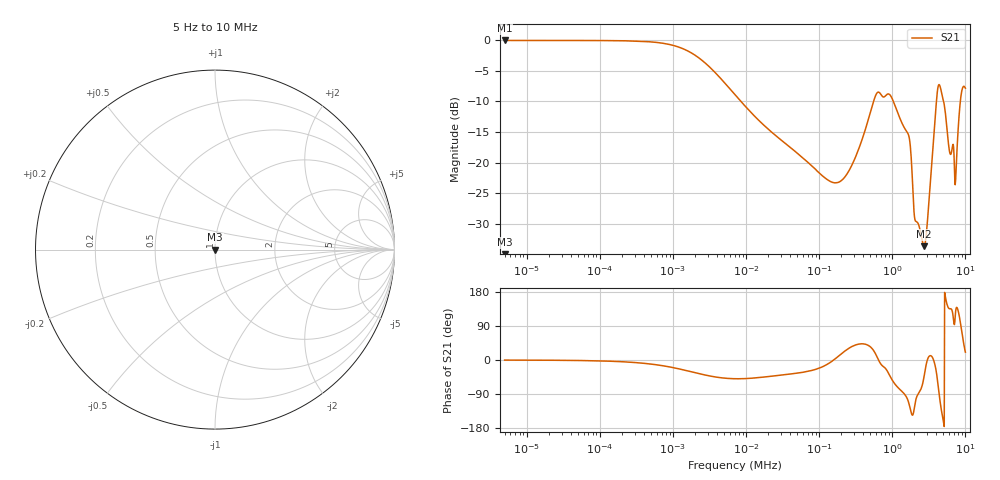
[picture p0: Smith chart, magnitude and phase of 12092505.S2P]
!Agilent Technologies,E5061B,MY49204007,A.02.12
!Date: Fri Sep 12 09:38:00 2025
!Data & Calibration Information:
!Freq	S11:SOLT2(OFF)	S21:SOLT2(OFF)	S12:SOLT2(OFF)	S22:SOLT2(OFF)
# Hz S dB R 50
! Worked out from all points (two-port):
!   1041 points, 5 Hz to 10 MHz, reference 50 ohm
!   highest |S21| = -0.05 dB at 5 Hz (marker M1); lowest = -33.6 dB at 2.732 MHz (marker M2)
!   |S21| within 3 dB of the highest: start of sweep to 2.357 kHz
!   lowest |S11| = - dB at 5 Hz (marker M3), VSWR 1.00, Z = 50 + j0 ohm
!   |S11| at or under -10 dB: start of sweep to end of sweep
!   S12 and S22 are empty: the file has one direction only
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5  -200.00 0.0  -0.05 -0.3  -200.00 0.0  -200.00 0.0
56.522  -200.00 0.0  -0.05 -1.4  -200.00 0.0  -200.00 0.0
632.897  -200.00 0.0  -0.40 -13.3  -200.00 0.0  -200.00 0.0
2229.669  -200.00 0.0  -2.83 -35.5  -200.00 0.0  -200.00 0.0
7154.49  -200.00 0.0  -8.97 -49.5  -200.00 0.0  -200.00 0.0
80111.67  -200.00 0.0  -20.57 -27.3  -200.00 0.0  -200.00 0.0
201894.5  -200.00 0.0  -22.91 16.6  -200.00 0.0  -200.00 0.0
529484.8  -200.00 0.0  -10.80 30.2  -200.00 0.0  -200.00 0.0
893075.1  -200.00 0.0  -8.78 -35.8  -200.00 0.0  -200.00 0.0
1649002  -200.00 0.0  -15.32 -108.0  -200.00 0.0  -200.00 0.0
2043081  -200.00 0.0  -29.32 -115.9  -200.00 0.0  -200.00 0.0
2732389  -200.00 0.0  -33.63 -41.9  -200.00 0.0  -200.00 0.0
3044228  -200.00 0.0  -29.20 2.3  -200.00 0.0  -200.00 0.0
3636709  -200.00 0.0  -16.80 2.1  -200.00 0.0  -200.00 0.0
3999130  -200.00 0.0  -10.29 -30.6  -200.00 0.0  -200.00 0.0
4315301  -200.00 0.0  -7.29 -80.5  -200.00 0.0  -200.00 0.0
4947644  -200.00 0.0  -9.67 -156.9  -200.00 0.0  -200.00 0.0
5599234  -200.00 0.0  -14.47 147.2  -200.00 0.0  -200.00 0.0
7168058  -200.00 0.0  -22.84 100.8  -200.00 0.0  -200.00 0.0
8318180  -200.00 0.0  -11.37 112.2  -200.00 0.0  -200.00 0.0
9038960  -200.00 0.0  -8.01 68.0  -200.00 0.0  -200.00 0.0
1e7  -200.00 0.0  -7.84 20.6  -200.00 0.0  -200.00 0.0
